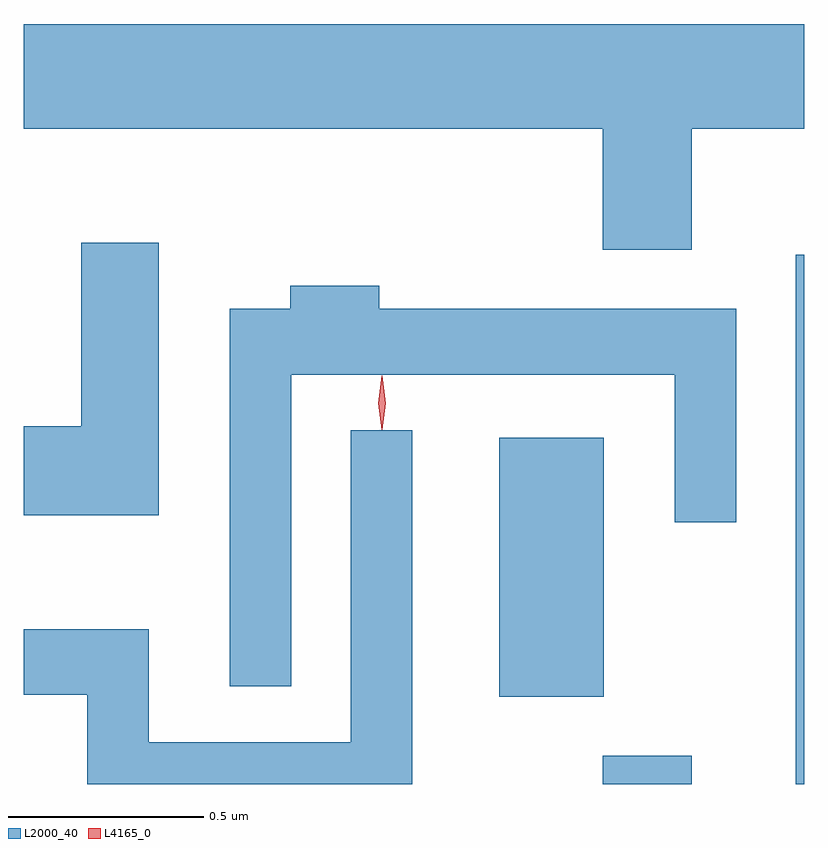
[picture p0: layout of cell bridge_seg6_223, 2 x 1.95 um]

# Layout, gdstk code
import gdstk
lib = gdstk.Library(unit=1e-6, precision=1e-09)
def R(c, l, rs):  # rectangles x0, y0, x1, y1
    for r in rs: c.add(gdstk.rectangle(r[:2], r[2:], *l))
def P(c, l, *ps):  # polygons
    for p in ps: c.add(gdstk.Polygon(p, *l))
L2000_40 = (2000, 40)
L4165_0 = (4165, 0)

bridge_seg6_223 = lib.new_cell('bridge_seg6_223')
R(bridge_seg6_223, L2000_40, [(1084.281,1555.017,1084.509,1555.089), (1084.776,1555.017,1084.798,1556.373), (1084.016,1555.241,1084.284,1555.904)])
P(bridge_seg6_223, L2000_40, [(1084.509,1556.696),(1084.798,1556.696),(1084.798,1556.964),(1082.798,1556.964),(1082.798,1556.696),(1084.281,1556.696),(1084.281,1556.386),(1084.509,1556.386)],
  [(1083.144,1556.404),(1082.946,1556.404),(1082.946,1555.934),(1082.798,1555.934),(1082.798,1555.706),(1083.144,1555.706)],
  [(1083.484,1556.066),(1084.466,1556.066),(1084.466,1555.688),(1084.624,1555.688),(1084.624,1556.234),(1083.709,1556.234),(1083.709,1556.294),(1083.481,1556.294),(1083.481,1556.234),(1083.326,1556.234),(1083.326,1555.268),(1083.484,1555.268)],
  [(1083.794,1555.923),(1083.636,1555.923),(1083.636,1555.124),(1083.119,1555.124),(1083.119,1555.414),(1082.798,1555.414),(1082.798,1555.246),(1082.961,1555.246),(1082.961,1555.017),(1083.794,1555.017)])
P(bridge_seg6_223, L4165_0, [(1083.716,1555.924),(1083.716,1555.924),(1083.706,1555.993),(1083.716,1556.063),(1083.716,1556.063),(1083.717,1556.063),(1083.726,1555.993),(1083.717,1555.924)])

lib.write_gds('bridge_seg6_223.gds')
